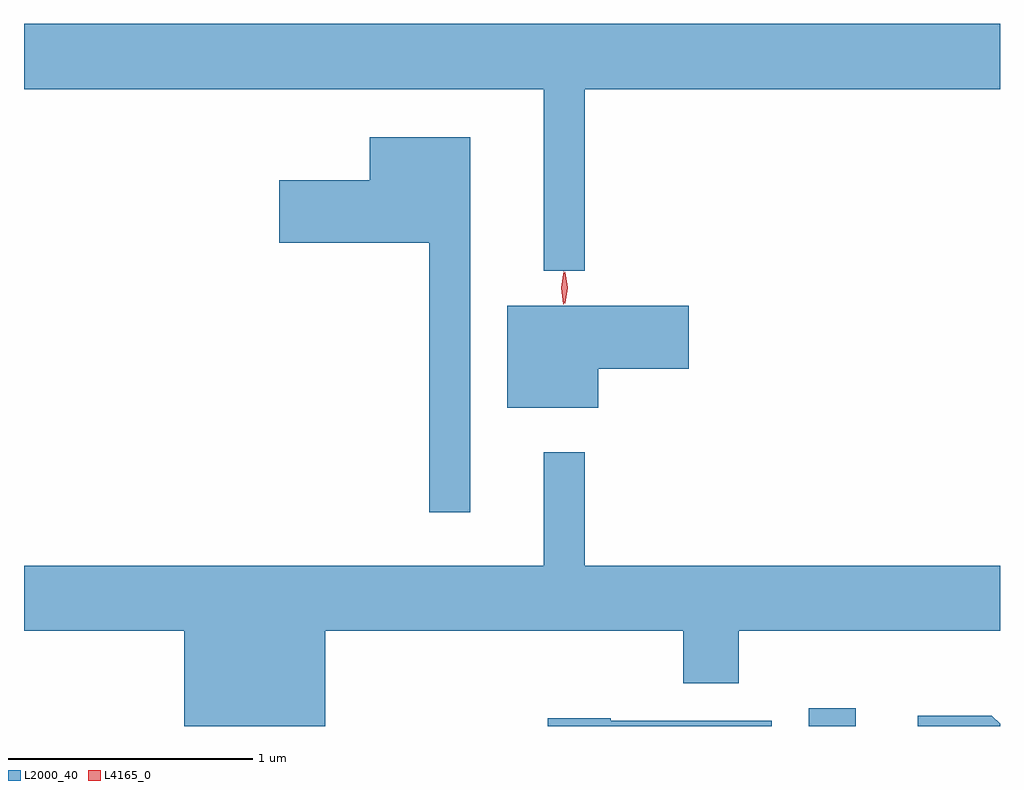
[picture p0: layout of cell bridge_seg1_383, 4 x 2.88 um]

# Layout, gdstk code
import gdstk
lib = gdstk.Library(unit=1e-6, precision=1e-09)
def R(c, l, rs):  # rectangles x0, y0, x1, y1
    for r in rs: c.add(gdstk.rectangle(r[:2], r[2:], *l))
def P(c, l, *ps):  # polygons
    for p in ps: c.add(gdstk.Polygon(p, *l))
L2000_40 = (2000, 40)
L4165_0 = (4165, 0)

bridge_seg1_383 = lib.new_cell('bridge_seg1_383')
R(bridge_seg1_383, L2000_40, [(604.116,939.146,604.309,939.219)])
P(bridge_seg1_383, L2000_40, [(603.199,941.756),(604.9,941.756),(604.9,942.024),(600.9,942.024),(600.9,941.756),(603.031,941.756),(603.031,941.013),(603.199,941.013)],
  [(602.729,941.559),(602.316,941.559),(602.316,941.384),(601.946,941.384),(601.946,941.126),(602.561,941.126),(602.561,940.023),(602.729,940.023)],
  [(603.254,940.611),(603.624,940.611),(603.624,940.869),(602.881,940.869),(602.881,940.451),(603.254,940.451)],
  [(602.134,939.536),(603.601,939.536),(603.601,939.321),(603.829,939.321),(603.829,939.536),(604.9,939.536),(604.9,939.804),(603.199,939.804),(603.199,940.268),(603.031,940.268),(603.031,939.804),(600.9,939.804),(600.9,939.536),(601.556,939.536),(601.556,939.146),(602.134,939.146)],
  [(604.9,939.156),(604.867,939.189),(604.563,939.189),(604.563,939.146),(604.9,939.146)],
  [(603.964,939.169),(603.305,939.169),(603.305,939.179),(603.046,939.179),(603.046,939.146),(603.964,939.146)])
P(bridge_seg1_383, L4165_0, [(603.111,940.874),(603.111,940.874),(603.102,940.942),(603.112,941.01),(603.113,941.01),(603.113,941.01),(603.122,940.942),(603.112,940.874)],
  [(603.117,940.88),(603.108,940.943),(603.117,941.006),(603.118,941.007),(603.118,941.006),(603.128,940.943),(603.118,940.88),(603.118,940.88)])

lib.write_gds('bridge_seg1_383.gds')
